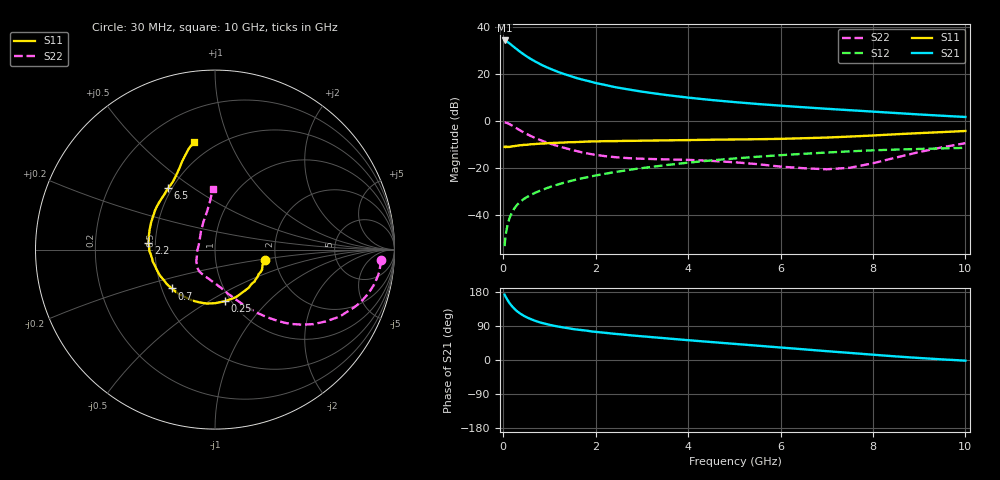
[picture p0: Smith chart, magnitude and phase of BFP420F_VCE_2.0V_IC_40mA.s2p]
! Infineon Technologies  Discrete & RF Semiconductors
! BFP420F
! VCE =  2.0 V,  IC =  40 mA
! Common Emitter S-Parameters:  Sep 2011
# GHz  S  MA  R  50
!  f  S11  S21  S12  S22
! GHz  MAG  ANG  MAG  ANG  MAG  ANG  MAG  ANG
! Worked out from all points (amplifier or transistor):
!   54 points, 30 MHz to 10 GHz, reference 50 ohm
!   highest |S21| = 34.2 dB at 30 MHz (marker M1)
!   |S21| within 3 dB of that: start of sweep to 245.7 MHz
!   unconditionally stable (mu >= 1): 1.308 GHz to end of sweep
!   at 120 MHz: K = 0.39, MSG = 37.7 dB, |S12| = -42.3 dB
!   at 1.3 GHz: K = 1.00, MSG = 23.2 dB, |S12| = -26.3 dB
!   at 10 GHz: K = 1.22, MAG = 3.7 dB, |S12| = -11.4 dB
!   S11 on the Smith chart (normalised r, x): 30 MHz: 1.75, -0.21; 250 MHz: 0.94, -0.59; 700 MHz: 0.56, -0.27; 2.2 GHz: 0.46, +0.04; 6.5 GHz: 0.48, +0.40; 10 GHz: 0.39, +0.75
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0.03  0.2823 -11.3  51.08 172.5  0.0022 90.2  0.9246 -3.7
0.05  0.2783 -17.7  49.97 167.4  0.0038 86.9  0.924 -7.4
0.07  0.2828 -26.6  49.23 163.3  0.0047 83.5  0.913 -10.9
0.08  0.2794 -29.3  48.31 161.0  0.0053 83.4  0.9069 -12.5
0.12  0.2795 -42.9  45.62 152.9  0.0077 80.2  0.8714 -18.5
0.15  0.2831 -52.1  43.12 147.9  0.0094 78.3  0.8405 -22.4
0.2  0.2897 -66.4  39.4 140.6  0.012 75.2  0.7881 -28.3
0.25  0.2928 -78.9  35.87 134.1  0.0143 73.2  0.7349 -33.0
0.35  0.304 -98.7  30.17 124.1  0.0185 69.6  0.6427 -40.6
0.45  0.3105 -113.7  25.66 116.4  0.0222 68.1  0.5673 -46.1
0.6  0.3198 -130.0  20.54 107.7  0.027 67.0  0.4767 -52.3
0.7  0.3243 -138.2  18.11 103.0  0.0302 66.7  0.4325 -55.6
0.9  0.3327 -150.2  14.37 95.9  0.0362 66.5  0.3615 -61.2
1.1  0.3419 -159.2  11.89 90.3  0.0423 66.3  0.3099 -66.3
1.7  0.3601 -176.3  7.597 78.9  0.0605 65.3  0.216 -80.9
2.2  0.3727 174.3  5.819 71.8  0.0755 63.7  0.1793 -94.1
3.5  0.3869 157.0  3.579 57.4  0.115 57.3  0.153 -119.4
5.5  0.4095 138.0  2.293 37.8  0.1739 44.6  0.1212 -148.9
6.5  0.4299 127.5  1.952 28.2  0.2008 37.7  0.0993 -176.1
7  0.4442 121.9  1.812 23.3  0.2136 34.2  0.0942 166.0
8.5  0.522 110.7  1.471 9.4  0.247 23.0  0.1674 112.7
10  0.6123 100.9  1.215 -1.7  0.2684 13.6  0.3375 92.3
